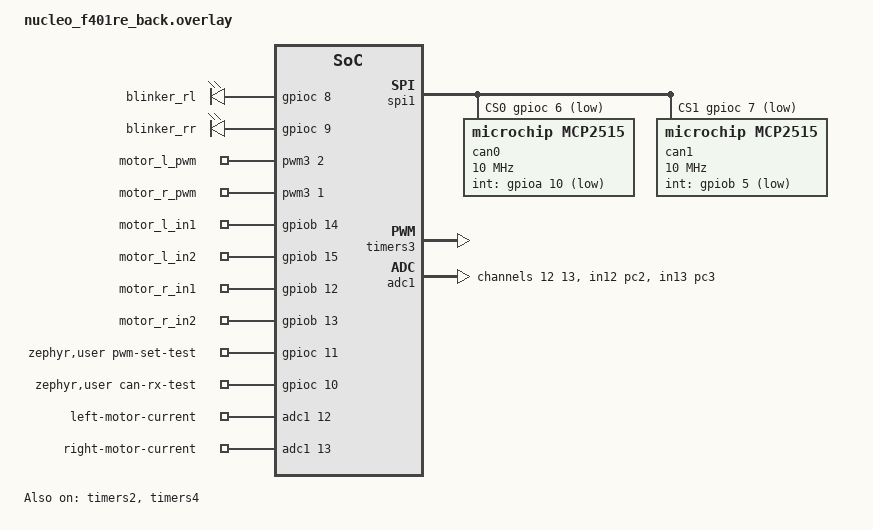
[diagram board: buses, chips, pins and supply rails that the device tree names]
#include <zephyr/dt-bindings/pwm/pwm.h>
#include <zephyr/dt-bindings/gpio/gpio.h>
#include <zephyr/dt-bindings/adc/adc.h>

/*** BACK - DRIVETRAIN STM32 - NODE 3 ***/

/ {
  aliases {
    /* CAN Aliases */
    can-a = &can0;
    can-b = &can1;

    /* Rear Blinker Aliases */
    blinker-rl = &blinker_rl;
    blinker-rr = &blinker_rr;
    
    /* Motor Speed PWM Aliases */
    motor-left-pwm  = &motor_l_pwm;
    motor-right-pwm = &motor_r_pwm;

    /* Motor Direction GPIO Aliases */
    motor-left-in1  = &motor_l_in1;
    motor-left-in2  = &motor_l_in2;
    motor-right-in1 = &motor_r_in1;
    motor-right-in2 = &motor_r_in2;

    /* Encoder Aliases */
    encoder-left = &encoder_left;
    encoder-right = &encoder_right;
  };

  pwmleds { status = "disabled"; };

  blinker_outputs {
    compatible = "gpio-leds";

    blinker_rl: blinker-rl { gpios = <&gpioc 8 GPIO_ACTIVE_HIGH>; };
    blinker_rr: blinker-rr { gpios = <&gpioc 9 GPIO_ACTIVE_HIGH>; };
  };

  motor_pwms {
    compatible = "pwm-leds";

    motor_l_pwm: motor_l_pwm { pwms = <&pwm3 2 PWM_KHZ(20) PWM_POLARITY_NORMAL>; };
    motor_r_pwm: motor_r_pwm { pwms = <&pwm3 1 PWM_KHZ(20) PWM_POLARITY_NORMAL>; };
  };

  motor_direction {
    compatible = "gpio-leds";

    /* Physical left wheel: bridge B (PB14, PB15). */
    motor_l_in1: motor_l_in1 { gpios = <&gpiob 14 GPIO_ACTIVE_HIGH>; };
    motor_l_in2: motor_l_in2 { gpios = <&gpiob 15 GPIO_ACTIVE_HIGH>; };

    /* Physical right wheel: bridge A (PB12, PB13). */
    motor_r_in1: motor_r_in1 { gpios = <&gpiob 12 GPIO_ACTIVE_HIGH>; };
    motor_r_in2: motor_r_in2 { gpios = <&gpiob 13 GPIO_ACTIVE_HIGH>; };
  };

  zephyr,user {
    /* ACS712 current sensor divider outputs: left PC2, right PC3 */
    io-channels = <&adc1 12>, <&adc1 13>;
    io-channel-names = "left-motor-current", "right-motor-current";

    /* Scope markers for timing measurements */
    pwm-set-test-gpios = <&gpioc 11 GPIO_ACTIVE_HIGH>; /* Toggles on motor PWM update */
    can-rx-test-gpios  = <&gpioc 10 GPIO_ACTIVE_HIGH>; /* Toggles on CAN frame reception */
  };

};

/* Dual MCP2515 CAN Controllers on SPI1 */
&spi1 {
  status = "okay";
  /* cs-gpios idx 0 = CAN A (PC6), idx 1 = CAN B (PC7) */
  cs-gpios = <&gpioc 6 (GPIO_ACTIVE_LOW | GPIO_PULL_UP)>,  
             <&gpioc 7 (GPIO_ACTIVE_LOW | GPIO_PULL_UP)>;

  can0: mcp2515@0 {
    compatible = "microchip,mcp2515";
    reg = <0>;                                  /* Index 0 in cs-gpios */
    spi-max-frequency = <10000000>;             /* 10 MHz max SPI speed */
    osc-freq = <16000000>;                      /* Given */
    bitrate = <500000>;                         /* CAN bitrate 500 kbit/s */
    int-gpios = <&gpioa 10 GPIO_ACTIVE_LOW>;  /* PA10 for CAN A interupt pin */
    status = "okay";
    label = "can0";
  };

  can1: mcp2515@1 {
    compatible = "microchip,mcp2515";
    reg = <1>;                                  /* Index 1 in cs-gpios */
    spi-max-frequency = <10000000>;             /* 10 MHz max SPI speed */
    osc-freq = <16000000>;                      /* Given */
    bitrate = <500000>;                         /* CAN bitrate 500 kbit/s */
    int-gpios = <&gpiob 5 GPIO_ACTIVE_LOW>;   /* PB5 for CAN B interupt pin */
    status = "okay";
    label = "can1";
  };

};

/* PWM3: Drive Motors (PA6/TIM3_CH1 & PA7/TIM3_CH2 at 20 kHz) */
&timers3 {
  status = "okay";

  pwm3: pwm {
    status = "okay";
    pinctrl-0 = <&tim3_ch1_pa6 &tim3_ch2_pa7>;
    pinctrl-names = "default";
  };
};

/* Default board drivers otherwise claim encoder and motor pins. */
&pwm2 { status = "disabled"; };
&spi2 { status = "disabled"; };

/* Left Encoder (PA0/TIM2_CH1 & PA1/TIM2_CH2) */
&timers2 {
  status = "okay";
  st,prescaler = <0>;
  encoder_left: qdec {
    status = "okay";
    pinctrl-0 = <&tim2_ch1_pa0 &tim2_ch2_pa1>;
    pinctrl-names = "default";
    st,encoder-mode = <3>; /* Both A/B edges: x4. */
    st,counts-per-revolution = <1320>;
    st,input-filter-level = <3>;
  };
};

/* Right Encoder (PB6/TIM4_CH1 & PB7/TIM4_CH2) */
&timers4 {
  status = "okay";
  st,prescaler = <0>;
  encoder_right: qdec {
    status = "okay";
    pinctrl-0 = <&tim4_ch1_pb6 &tim4_ch2_pb7>;
    pinctrl-names = "default";
    st,encoder-mode = <3>;
    st,counts-per-revolution = <1320>;
    st,input-filter-level = <3>;
  };
};

/* Disable USART1 (Pi link), replacing with CAN */
&usart1 { status = "disabled"; };

/* ADC1: Left/Right Drive Motor ACS712 Current Sensors (PC2/IN12 & PC3/IN13) */
&adc1 {
  #address-cells = <1>;
  #size-cells = <0>;
  pinctrl-0 = <&adc1_in12_pc2 &adc1_in13_pc3>;
  pinctrl-names = "default";
  status = "okay";

  /* Left Motor Current Sensor (PC2) */
  channel@c {
    reg = <12>;
    zephyr,gain = "ADC_GAIN_1";
    zephyr,reference = "ADC_REF_INTERNAL";
    zephyr,acquisition-time = <ADC_ACQ_TIME_MAX>;
    zephyr,resolution = <12>;
  };

  /* Right Motor Current Sensor (PC3) */
  channel@d {
    reg = <13>;
    zephyr,gain = "ADC_GAIN_1";
    zephyr,reference = "ADC_REF_INTERNAL";
    zephyr,acquisition-time = <ADC_ACQ_TIME_MAX>;
    zephyr,resolution = <12>;
  };
};

